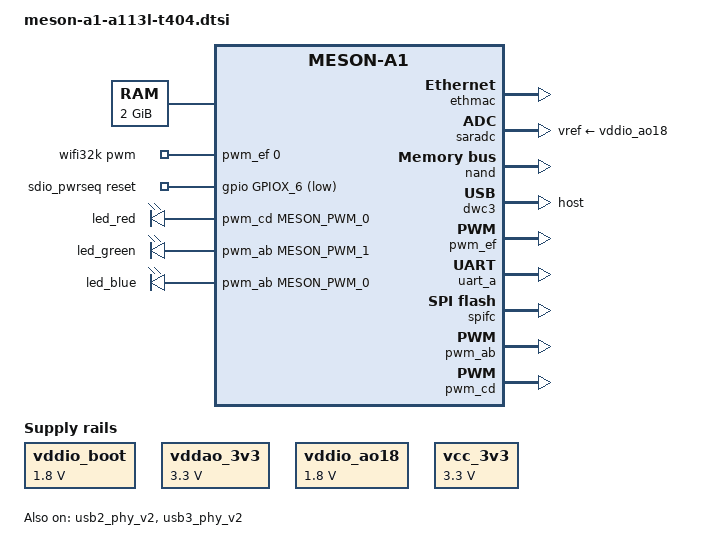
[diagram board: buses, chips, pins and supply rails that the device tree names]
/* SPDX-License-Identifier: (GPL-2.0+ OR MIT) */
/*
 * Copyright (c) 2016 Martin Blumenstingl <martin.blumenstingl@googlemail.com>.
 * Based on meson-gx-p23x-q20x.dtsi:
 * - Copyright (c) 2016 Endless Computers, Inc.
 *   Author: Carlo Caione <carlo@endlessm.com>
 * - Copyright (c) 2016 BayLibre, SAS.
 *   Author: Neil Armstrong <narmstrong@baylibre.com>
 */

/* Common DTSI for devices which are based on the P212 reference board. */

#include "meson-a1-a113l.dtsi"

/ {
	aliases {
		serial0 = &uart_b;
		serial1 = &uart_a;
		spi0 = &spifc;
		spi1 = &spicc0;
		i2c0 = &i2c0;
		i2c1 = &i2c1;
		i2c2 = &i2c2;
		i2c3 = &i2c3;
	};

	chosen {
		stdout-path = "serial0:115200n8";
	};

	memory@0 {
		device_type = "memory";
		reg = <0x0 0x0 0x0 0x80000000>;
	};

	vddio_boot: regulator-vddio_boot {
		compatible = "regulator-fixed";
		regulator-name = "VDDIO_BOOT";
		regulator-min-microvolt = <1800000>;
		regulator-max-microvolt = <1800000>;
	};

	vddao_3v3: regulator-vddao_3v3 {
		compatible = "regulator-fixed";
		regulator-name = "VDDAO_3V3";
		regulator-min-microvolt = <3300000>;
		regulator-max-microvolt = <3300000>;
	};

	vddio_ao18: regulator-vddio_ao18 {
		compatible = "regulator-fixed";
		regulator-name = "VDDIO_AO18";
		regulator-min-microvolt = <1800000>;
		regulator-max-microvolt = <1800000>;
	};

	vcc_3v3: regulator-vcc_3v3 {
		compatible = "regulator-fixed";
		regulator-name = "VCC_3V3";
		regulator-min-microvolt = <3300000>;
		regulator-max-microvolt = <3300000>;
	};

	emmc_pwrseq: emmc-pwrseq {
		compatible = "mmc-pwrseq-emmc";
		/*reset-gpios = <&gpio BOOT_9 GPIO_ACTIVE_LOW>;*/
	};

	wifi32k: wifi32k {
		compatible = "pwm-clock";
		#clock-cells = <0>;
		clock-frequency = <32768>;
		pwms = <&pwm_ef 0 30518 0>; /* PWM_E at 32.768KHz */
	};

	sdio_pwrseq: sdio-pwrseq {
		compatible = "mmc-pwrseq-simple";
		reset-gpios = <&gpio GPIOX_6 GPIO_ACTIVE_LOW>;
		clocks = <&wifi32k>;
		clock-names = "ext_clock";
	};

	leds {
		compatible = "pwm-leds";
		status = "okay";

		red {
			label = "led_red";
			pwms = <&pwm_cd MESON_PWM_0 10000000 0>;
			max-brightness=<255>;
			default-brightness=<255>;
		};

		green {
			label = "led_green";
			pwms = <&pwm_ab MESON_PWM_1 10000000 0>;
			max-brightness=<255>;
			default-brightness=<255>;
		};

		blue {
			label = "led_blue";
			pwms = <&pwm_ab MESON_PWM_0 10000000 0>;
			max-brightness=<255>;
			default-brightness=<255>;
		};
	};
};

&ethmac {
	status = "okay";
	internal_phy = <1>;
	mc_val = <0x4be04>;
	/*mc_val = <0x1621>;*/
};

&ir {
	status = "disabled";
	/* pinctrl-0 = <&remote_input_ao_pins>; */
	/* pinctrl-names = "default"; */
};

&saradc {
	status = "okay";
	vref-supply = <&vddio_ao18>;
};

/* Wireless SDIO Module */
&sd_emmc_a {
	status = "disabled";
	/* pinctrl-0 = <&sdio_pins>; */
	/* pinctrl-names = "default"; */
	#address-cells = <1>;
	#size-cells = <0>;

	bus-width = <4>;
	cap-sd-highspeed;
	max-frequency = <100000000>;

	non-removable;
	disable-wp;
	card_type = <3>;

	mmc-pwrseq = <&sdio_pwrseq>;

	vmmc-supply = <&vddao_3v3>;
	vqmmc-supply = <&vddio_boot>;
};

/* SD card */
&sd_emmc_b {
	status = "disabled";
	/*pinctrl-0 = <&sd_all_pins>;*/
	/*pinctrl-names = "default";*/

	bus-width = <4>;
	cap-sd-highspeed;
	max-frequency = <100000000>;
	disable-wp;
	card_type = <5>;

	/* cd-gpios = <&gpio CARD_6 GPIO_ACTIVE_HIGH>; */
	/* cd-inverted; */

	vmmc-supply = <&vddao_3v3>;
	vqmmc-supply = <&vddio_boot>;
};

/* eMMC */
&sd_emmc_c {
	status = "disabled";
	/* pinctrl-0 = <&emmc_conf_pull_up &emmc_conf_pull_done>; */
	/* pinctrl-names = "default"; */

	bus-width = <8>;
	cap-sd-highspeed;
	cap-mmc-highspeed;
	max-frequency = <200000000>;
	non-removable;
	disable-wp;
	/* mmc-ddr-1_8v; */
	/* mmc-hs200-1_8v; */
	card_type = <1>;

	core-phase0 = <3>;
	tx-phase0 = <0>;

	core-phase1 = <3>;
	tx-phase1 = <0>;

	mmc-pwrseq = <&emmc_pwrseq>;
	vmmc-supply = <&vcc_3v3>;
	vqmmc-supply = <&vddio_boot>;
};

/* nand */
&nand {
	status = "okay";
	/* pinctrl-names = "default", "nand_all_pins", "nand_cs_only"; */
	/* pinctrl-0 = <&all_nand_pins>; */
	/* pinctrl-1 = <&all_nand_pins>; */
	/* pinctrl-2 = <&nand_cs_pins>;  */

	/*
	#address-cells = <1>;
	#size-cells = <0>;

	nand@0 {
		reg = <0>;
		#address-cells = <1>;
		#size-cells = <1>;

		nand-on-flash-bbt;
		nand-ecc-mode = "hw";
		nand-ecc-strength = <8>;
		nand-ecc-step-size = <1024>;

		meson-nand-user-mode = <2>;
		meson-nand-ran-mode = <1>;

		partition@0 {
			label = "boot";
			reg = <0x00000000 0x00200000>;
			read-only;
		};
		partition@200000 {
			label = "env";
			reg = <0x00200000 0x00400000>;
		};
		partition@600000 {
			label = "system";
			reg = <0x00600000 0x00a00000>;
		};
		partition@1000000 {
			label = "rootfs";
			reg = <0x01000000 0x03000000>;
		};
		partition@4000000 {
			label = "media";
			reg = <0x04000000 0x8000000>;
		};
	};*/

};

&dwc3 {
	status = "okay";
	dr_mode = "host";
};

&usb2_phy_v2 {
	status = "okay";
	portnum = <1>;
};

&usb3_phy_v2 {
	status = "okay";
	portnum = <0>;
	gpio-vbus-power = "GPIOH_6";
	/*gpios = <&gpio GPIOH_6 GPIO_ACTIVE_HIGH>;*/
};

&pwm_ef {
	status = "okay";
	/* pinctrl-0 = <&pwm_e_pins>; */
	/* pinctrl-names = "default"; */
};

/* This is connected to the Bluetooth module: */
&uart_a {
	status = "okay";
	/* pinctrl-0 = <&a_uart_pins>; */
	/* pinctrl-names = "default";  */
	uart-has-rtscts;
};

&spifc {
	status = "okay";
	pinctrl-names = "default";
	pinctrl-0 = <&spifc_pins>;
	max-frequency = <24000000>;
	max-cs = <2>;
	/* 512M */
	clocks = <&clkc CLKID_FCLK_DIV3>,
		 <&clkc CLKID_SPIFC_MUX>,
		 <&clkc CLKID_SPIFC_DIV>,
		 <&clkc CLKID_SPIFC_GATE>,
		 <&clkc CLKID_SPIFC_XTAL_GATE>;
	clock-names = "fclk_source", "spifc_mux", "spifc_div", "spifc_gate", "spifc_xtal_gate";
};

&spicc0 {
	status = "disabled";
	pinctrl-names = "default";
	pinctrl-0 = <&spicc0_pins_a>;
	cs-gpios = <&gpio GPIOA_8 0>;
};

&pwm_ab {
	status = "okay";
	/* set mux pwm_a_pins4 pwm_b_pins2 for led */
	pinctrl-names="default";
	pinctrl-0=<&pwm_a_pins4 &pwm_b_pins2>;
};

&pwm_cd {
	status = "okay";
	/* set mux pwm_c_pins3 for led */
	pinctrl-names="default";
	pinctrl-0=<&pwm_c_pins3>;
};
